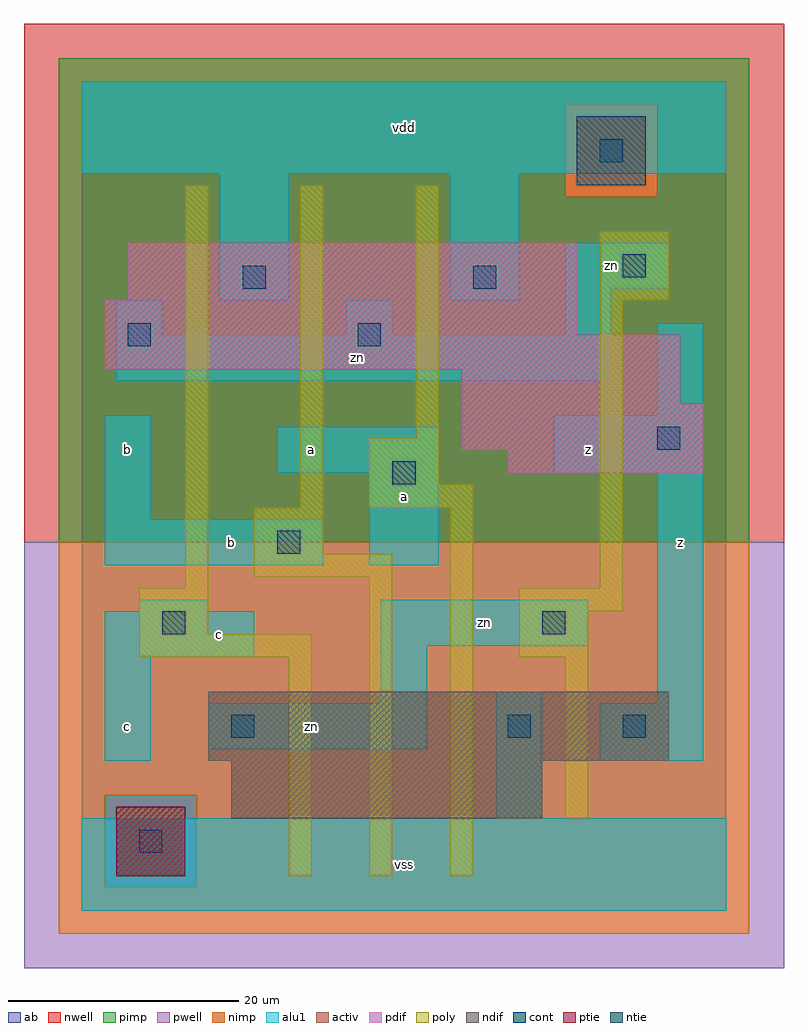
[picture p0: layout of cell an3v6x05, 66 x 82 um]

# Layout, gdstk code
import gdstk
lib = gdstk.Library(unit=1e-6, precision=1e-09)
def R(c, l, rs):  # rectangles x0, y0, x1, y1
    for r in rs: c.add(gdstk.rectangle(r[:2], r[2:], *l))
ndif = (3, 0)
pdif = (4, 0)
ntie = (5, 0)
ptie = (6, 0)
cont = (25, 0)
pwell = (41, 0)
nwell = (42, 0)
activ = (43, 0)
pimp = (44, 0)
nimp = (45, 0)
poly = (46, 0)
alu1 = (49, 0)
ab = (63, 0)

an3v6x05 = lib.new_cell('an3v6x05')
R(an3v6x05, ndif, [(13,8,40,13), (11,13,51,19)])
R(an3v6x05, pdif, [(37,38,54,40), (33,40,54,44), (33,44,52,47), (2,47,52,50), (2,50,43,53), (4,53,43,58)])
R(an3v6x05, ntie, [(43,63,49,69)])
R(an3v6x05, ptie, [(3,3,9,9)])
R(an3v6x05, cont, [(5,5,7,7), (13,15,15,17), (37,15,39,17), (47,15,49,17), (7,24,9,26), (40,24,42,26), (17,31,19,33), (27,37,29,39), (50,40,52,42), (4,49,6,51), (24,49,26,51), (14,54,16,56), (34,54,36,56), (47,55,49,57), (45,65,47,67)])
R(an3v6x05, pwell, [(-5,-5,61,32)])
R(an3v6x05, nwell, [(-5,32,61,77)])
R(an3v6x05, activ, [(3,3,9,9), (13,8,40,13), (11,13,51,19), (37,38,54,40), (33,40,54,44), (33,44,52,47), (2,47,52,50), (2,50,43,53), (4,53,43,58), (43,63,49,69)])
R(an3v6x05, pimp, [(2,2,10,10), (-2,32,58,62), (-2,62,42,70), (50,62,58,70), (-2,70,58,74)])
R(an3v6x05, nimp, [(-2,-2,58,2), (-2,2,2,10), (10,2,58,10), (-2,10,58,32), (42,62,50,70)])
R(an3v6x05, poly, [(18,3,20,22), (25,3,27,29), (32,3,34,35), (42,8,44,22), (5,22,20,24), (38,22,44,26), (5,24,11,28), (38,26,47,28), (9,28,11,63), (45,28,47,53), (15,29,27,31), (15,31,21,35), (19,35,21,63), (25,35,34,37), (25,37,31,41), (29,41,31,63), (45,53,51,59)])
R(an3v6x05, alu1, [(0,0,56,8), (36,8,40,19), (2,13,6,22), (45,13,54,18), (11,14,30,18), (26,18,30,23), (50,18,54,38), (2,22,15,26), (26,23,44,27), (5,26,11,27), (2,30,21,34), (25,30,31,38), (2,34,6,43), (17,38,31,42), (41,38,54,43), (50,43,54,51), (3,46,46,50), (3,50,7,53), (23,50,27,53), (42,50,46,54), (12,53,18,64), (32,53,38,64), (42,54,51,58), (0,64,56,72)])
R(an3v6x05, ab, [(0,0,56,72)])
an3v6x05.add(gdstk.Label('zn', (20,16), layer=49, texttype=0))
an3v6x05.add(gdstk.Label('zn', (35,25), layer=49, texttype=0))
an3v6x05.add(gdstk.Label('zn', (24,48), layer=49, texttype=0))
an3v6x05.add(gdstk.Label('zn', (46,56), layer=49, texttype=0))
an3v6x05.add(gdstk.Label('c', (4,16), layer=49, texttype=0))
an3v6x05.add(gdstk.Label('b', (4,40), layer=49, texttype=0))
an3v6x05.add(gdstk.Label('b', (13,32), layer=49, texttype=0))
an3v6x05.add(gdstk.Label('c', (12,24), layer=49, texttype=0))
an3v6x05.add(gdstk.Label('a', (20,40), layer=49, texttype=0))
an3v6x05.add(gdstk.Label('vss', (28,4), layer=49, texttype=0))
an3v6x05.add(gdstk.Label('a', (28,36), layer=49, texttype=0))
an3v6x05.add(gdstk.Label('vdd', (28,68), layer=49, texttype=0))
an3v6x05.add(gdstk.Label('z', (52,32), layer=49, texttype=0))
an3v6x05.add(gdstk.Label('z', (44,40), layer=49, texttype=0))

lib.write_gds('an3v6x05.gds')
